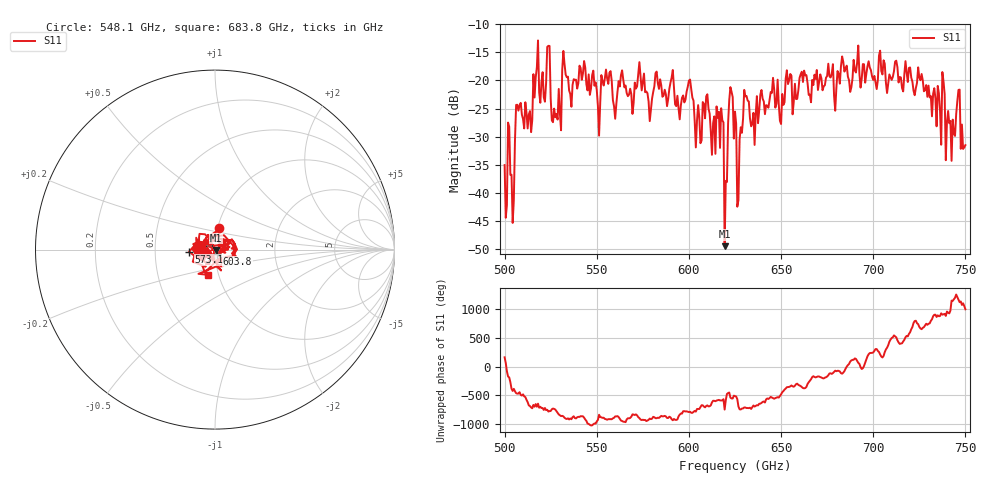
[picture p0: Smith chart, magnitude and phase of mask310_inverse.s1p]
!Created with skrf (http://scikit-rf.org).
# GHz S MA R 50.0
!freq magS11 angS11
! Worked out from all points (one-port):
!   401 points, 500 GHz to 750 GHz, reference 50 ohm
!   lowest |S11| = -49.5 dB at 619.4 GHz (marker M1), VSWR 1.01, Z = 50.3 - j0.154 ohm
!   |S11| at or under -10 dB: start of sweep to end of sweep
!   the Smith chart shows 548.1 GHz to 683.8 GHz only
!   S11 on the Smith chart (normalised r, x): 548.1 GHz: 1.02, +0.25; 573.1 GHz: 0.75, -0.02; 603.8 GHz: 1.02, -0.05; 683.8 GHz: 0.89, -0.26
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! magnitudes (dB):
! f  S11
! 500 GHz  -35.0
! 504.4 GHz  -45.3
! 507.5 GHz  -25.4
! 513.8 GHz  -25.4
! 516.9 GHz  -19.5
! 523.8 GHz  -13.8
! 526.9 GHz  -25.0
! 531.2 GHz  -18.2
! 548.1 GHz  -18.3
! 562.5 GHz  -21.1
! 573.1 GHz  -16.7
! 593.8 GHz  -22.7
! 600 GHz  -20.0
! 603.8 GHz  -31.9
! 617.5 GHz  -24.9
! 619.4 GHz  -49.5
! 622.5 GHz  -21.2
! 625 GHz  -25.5
! 627.5 GHz  -30.5
! 631.2 GHz  -22.8
! 634.4 GHz  -27.7
! 656.2 GHz  -26.0
! 683.8 GHz  -16.7
! 687.5 GHz  -22.0
! 718.8 GHz  -20.3
! 743.1 GHz  -27.0
! 745.6 GHz  -23.7
! 750 GHz  -31.5
